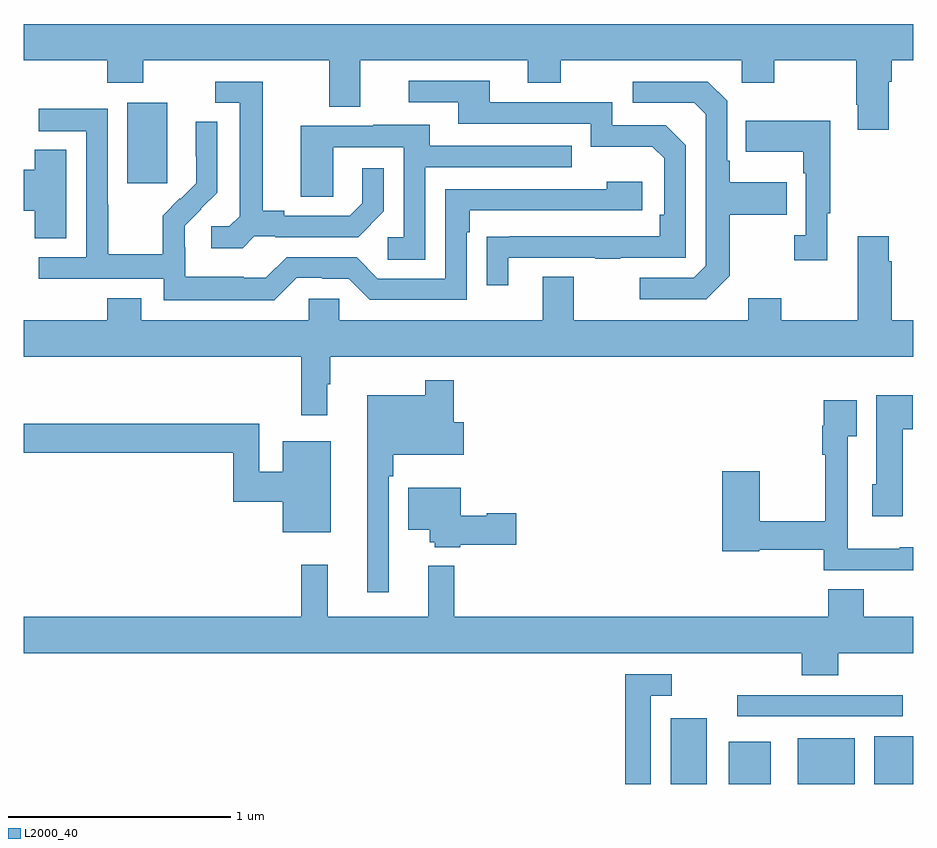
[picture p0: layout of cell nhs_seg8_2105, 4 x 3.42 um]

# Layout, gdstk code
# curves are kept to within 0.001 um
import gdstk
lib = gdstk.Library(unit=1e-6, precision=1e-09)
def R(c, l, rs):  # rectangles x0, y0, x1, y1
    for r in rs: c.add(gdstk.rectangle(r[:2], r[2:], *l))
def P(c, l, *ps):  # polygons
    for p in ps: c.add(gdstk.Polygon(p, *l))
L2000_40 = (2000, 40)

nhs_seg8_2105 = lib.new_cell('nhs_seg8_2105')
R(nhs_seg8_2105, L2000_40, [(245.909,1127.9,246.07,1128.196), (246.17,1127.9,246.358,1128.091), (246.479,1127.9,246.736,1128.106), (246.824,1127.9,247,1128.115), (246.207,1128.204,246.952,1128.3), (243.467,1130.601,243.646,1130.962)])
P(nhs_seg8_2105, L2000_40, [(246.889,1131.056),(246.902,1131.056),(246.902,1131.152),(247,1131.152),(247,1131.316),(243,1131.316),(243,1131.152),(243.377,1131.152),(243.377,1131.053),(243.537,1131.053),(243.537,1131.152),(244.373,1131.152),(244.373,1130.944),(244.513,1130.944),(244.513,1131.152),(245.267,1131.152),(245.267,1131.053),(245.415,1131.053),(245.415,1131.152),(246.228,1131.152),(246.228,1131.053),(246.375,1131.053),(246.375,1131.152),(246.742,1131.152),(246.742,1130.953),(246.749,1130.953),(246.749,1130.841),(246.889,1130.841)],
  [(245.179,1130.265),(245.569,1130.265),(245.569,1130.26),(245.681,1130.26),(245.681,1130.265),(245.976,1130.265),(245.976,1130.772),(245.886,1130.862),(245.646,1130.862),(245.646,1130.964),(245.095,1130.964),(245.095,1131.06),(244.731,1131.06),(244.731,1130.964),(244.955,1130.964),(244.955,1130.868),(245.55,1130.868),(245.55,1130.765),(245.827,1130.765),(245.88,1130.712),(245.88,1130.458),(245.86,1130.458),(245.86,1130.361),(245.083,1130.36),(245.083,1130.142),(245.179,1130.142)],
  [(244.038,1130.361),(244.132,1130.361),(244.132,1130.358),(244.504,1130.358),(244.62,1130.474),(244.62,1130.668),(244.523,1130.668),(244.523,1130.511),(244.466,1130.454),(244.171,1130.454),(244.171,1130.477),(244.075,1130.477),(244.075,1131.057),(243.861,1131.057),(243.861,1130.961),(243.971,1130.961),(243.971,1130.453),(243.924,1130.406),(243.843,1130.406),(243.843,1130.309),(243.986,1130.309)],
  [(246.175,1130.185),(246.175,1130.458),(246.431,1130.458),(246.431,1130.605),(246.175,1130.605),(246.175,1130.701),(246.162,1130.701),(246.162,1130.97),(246.075,1131.057),(245.739,1131.057),(245.739,1130.961),(246.015,1130.961),(246.066,1130.91),(246.066,1130.229),(246.012,1130.175),(245.769,1130.175),(245.769,1130.079),(246.069,1130.079)],
  [(244.227,1130.175),(244.343,1130.175),(244.343,1130.172),(244.461,1130.172),(244.557,1130.076),(244.992,1130.076),(244.992,1130.381),(245.005,1130.381),(245.005,1130.478),(245.782,1130.478),(245.782,1130.608),(245.621,1130.608),(245.621,1130.574),(244.896,1130.574),(244.896,1130.172),(244.593,1130.172),(244.497,1130.268),(244.182,1130.268),(244.089,1130.175),(243.989,1130.175),(243.989,1130.179),(243.726,1130.179),(243.726,1130.313),(243.724,1130.313),(243.724,1130.41),(243.87,1130.558),(243.87,1130.876),(243.774,1130.876),(243.774,1130.722),(243.776,1130.722),(243.776,1130.6),(243.705,1130.529),(243.702,1130.532),(243.625,1130.455),(243.625,1130.281),(243.381,1130.281),(243.381,1130.504),(243.378,1130.504),(243.378,1130.934),(243.069,1130.934),(243.069,1130.835),(243.282,1130.835),(243.282,1130.268),(243.069,1130.268),(243.069,1130.172),(243.63,1130.172),(243.63,1130.075),(244.127,1130.075)],
  [(246.613,1130.465),(246.625,1130.465),(246.625,1130.881),(246.247,1130.881),(246.247,1130.741),(246.504,1130.741),(246.504,1130.645),(246.516,1130.645),(246.516,1130.366),(246.465,1130.366),(246.465,1130.253),(246.613,1130.253)],
  [(244.806,1130.673),(245.465,1130.673),(245.465,1130.769),(244.825,1130.769),(244.825,1130.863),(244.571,1130.863),(244.571,1130.859),(244.247,1130.859),(244.247,1130.539),(244.392,1130.539),(244.392,1130.763),(244.71,1130.763),(244.71,1130.358),(244.638,1130.358),(244.638,1130.257),(244.806,1130.257)],
  [(243.193,1130.75),(243.05,1130.75),(243.05,1130.66),(243,1130.66),(243,1130.477),(243.05,1130.477),(243.05,1130.353),(243.193,1130.353)],
  [(244.366,1129.697),(244.378,1129.697),(244.378,1129.82),(247,1129.82),(247,1129.984),(246.902,1129.984),(246.902,1130.249),(246.889,1130.249),(246.889,1130.362),(246.749,1130.362),(246.749,1129.984),(246.405,1129.984),(246.405,1130.083),(246.257,1130.083),(246.257,1129.984),(245.473,1129.984),(245.473,1130.179),(245.333,1130.179),(245.333,1129.984),(244.419,1129.984),(244.419,1130.082),(244.281,1130.082),(244.281,1129.984),(243.529,1129.984),(243.529,1130.083),(243.377,1130.083),(243.377,1129.984),(243,1129.984),(243,1129.82),(244.249,1129.82),(244.249,1129.557),(244.366,1129.557)],
  [(244.641,1129.283),(244.661,1129.283),(244.661,1129.379),(244.978,1129.379),(244.978,1129.527),(244.934,1129.527),(244.934,1129.714),(244.806,1129.714),(244.806,1129.648),(244.544,1129.648),(244.544,1128.762),(244.641,1128.762)],
  [(246.952,1129.494),(246.997,1129.494),(246.997,1129.648),(246.833,1129.648),(246.833,1129.248),(246.815,1129.248),(246.815,1129.104),(246.952,1129.104)],
  [(247,1128.964),(246.939,1128.964),(246.939,1128.958),(246.705,1128.958),(246.705,1129.463),(246.745,1129.463),(246.745,1129.624),(246.597,1129.624),(246.597,1129.511),(246.589,1129.511),(246.589,1129.379),(246.604,1129.379),(246.604,1129.082),(246.31,1129.082),(246.31,1129.306),(246.14,1129.306),(246.14,1128.946),(246.306,1128.946),(246.306,1128.954),(246.597,1128.954),(246.597,1128.861),(246.839,1128.861),(246.839,1128.86),(247,1128.86)],
  [(244.381,1129.441),(244.166,1129.441),(244.166,1129.304),(244.059,1129.304),(244.059,1129.519),(243,1129.519),(243,1129.39),(243.943,1129.39),(243.943,1129.168),(244.166,1129.168),(244.166,1129.031),(244.381,1129.031)],
  [(244.962,1128.976),(245.215,1128.976),(245.215,1129.118),(245.082,1129.118),(245.082,1129.105),(244.966,1129.105),(244.966,1129.231),(244.73,1129.231),(244.73,1129.043),(244.826,1129.043),(244.826,1128.987),(244.848,1128.987),(244.848,1128.965),(244.962,1128.965)],
  [(246.662,1128.488),(247,1128.488),(247,1128.652),(246.777,1128.652),(246.777,1128.776),(246.617,1128.776),(246.617,1128.652),(244.937,1128.652),(244.937,1128.88),(244.82,1128.88),(244.82,1128.652),(244.367,1128.652),(244.367,1128.886),(244.249,1128.886),(244.249,1128.652),(243,1128.652),(243,1128.488),(246.497,1128.488),(246.497,1128.389),(246.662,1128.389)],
  [(245.82,1128.297),(245.914,1128.297),(245.914,1128.393),(245.704,1128.393),(245.704,1127.9),(245.82,1127.9)])

lib.write_gds('nhs_seg8_2105.gds')
